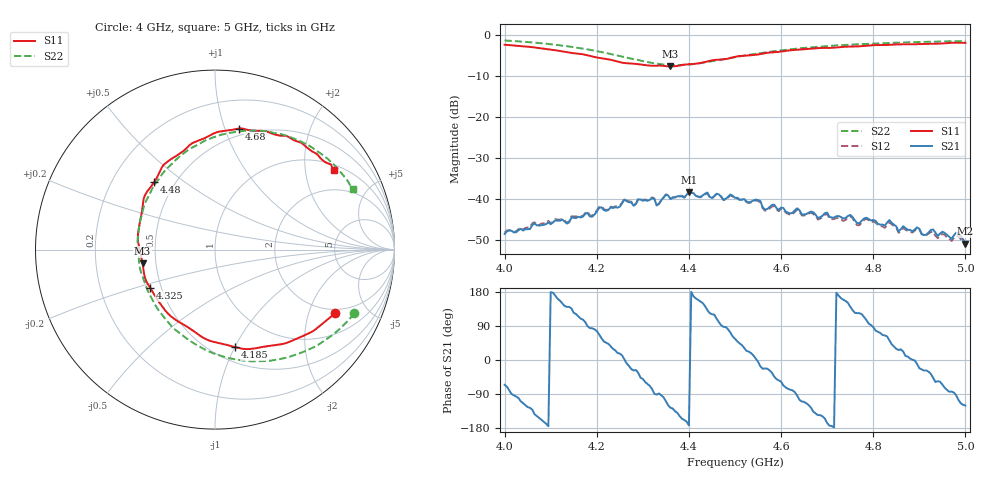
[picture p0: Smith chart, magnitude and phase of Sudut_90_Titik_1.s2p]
# Hz S RI R 50
! CMT, C1220, 16058040, 17.2.0/1
! Date: 15/08/2018 11:32:11
! Data: Format (Calibration Info)
! Freq  S11: Re/Im (F2)  S21: Re/Im (F2)  S12: Re/Im (F2)  S22: Re/Im (F2)
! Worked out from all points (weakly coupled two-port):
!   201 points, 4 GHz to 5 GHz, reference 50 ohm
!   highest |S21| = -38.34 dB at 4.4 GHz (marker M1); lowest = -50.8 dB at 5 GHz (marker M2)
!   lowest |S11| = -7.7 dB at 4.36 GHz (marker M3), VSWR 2.40, Z = 21 - j3.92 ohm
!   |S11| at or under -10 dB: nowhere
!   |S22| runs from -7.4 to -1.4 dB; largest |S21 - S12| = 0.00039
!   S11 on the Smith chart (normalised r, x): 4 GHz: 1.81, -2.99; 4.185 GHz: 0.64, -1.00; 4.325 GHz: 0.43, -0.22; 4.48 GHz: 0.38, +0.39; 4.68 GHz: 0.44, +1.12; 5 GHz: 1.17, +2.85
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4e9  0.6663 -0.3557  0.00157 -0.00344  0.00175 -0.00349  0.7747 -0.3552
4.17e9  0.1632 -0.554  -0.00175 0.00588  -0.00191 0.00599  0.2729 -0.6212
4.185e9  0.11 -0.5431  0.00062 0.00613  0.000627 0.00633  0.2085 -0.6224
4.26e9  -0.1744 -0.418  0.00991 0.000273  0.0101 0.000224  -0.1178 -0.5223
4.28e9  -0.249 -0.3692  0.00737 -0.00385  0.00748 -0.00407  -0.1979 -0.4641
4.325e9  -0.3608 -0.2127  0.000149 -0.0101  4.48e-05 -0.0102  -0.343 -0.2897
4.335e9  -0.3816 -0.1787  0.000234 -0.00875  0.000141 -0.00882  -0.3666 -0.2464
4.35e9  -0.3975 -0.1197  -0.00359 -0.0107  -0.00369 -0.0108  -0.3955 -0.1727
4.36e9  -0.4037 -0.0774  -0.00589 -0.00807  -0.00608 -0.00815  -0.4123 -0.1265
4.4e9  -0.429 0.0885  -0.012 -0.00157  -0.0121 -0.00127  -0.4286 0.0746
4.48e9  -0.3396 0.3758  0.000533 0.0101  0.00072 0.00988  -0.3012 0.4112
4.5e9  -0.3024 0.445  0.00579 0.00862  0.00579 0.00844  -0.2459 0.4722
4.55e9  -0.1786 0.5476  0.00971 -0.000802  0.00942 -0.00101  -0.0982 0.5836
4.565e9  -0.145 0.5786  0.00691 -0.00283  0.00663 -0.00291  -0.0542 0.608
4.67e9  0.1138 0.6703  -0.00501 -0.00478  -0.00483 -0.0045  0.248 0.6625
4.68e9  0.1325 0.6746  -0.00485 -0.00333  -0.00466 -0.00318  0.2727 0.6597
4.835e9  0.446 0.6071  0.00344 0.00438  0.00318 0.00414  0.5833 0.5389
4.855e9  0.4781 0.5961  0.00362 0.0018  0.00347 0.00177  0.6134 0.5166
4.895e9  0.5352 0.5513  0.00446 -0.000807  0.00437 -0.000637  0.6656 0.4705
4.97e9  0.6397 0.4769  0.000385 -0.00327  0.000356 -0.00308  0.743 0.3767
4.985e9  0.6488 0.4672  -0.00104 -0.00373  -0.000891 -0.00343  0.755 0.3553
5e9  0.6615 0.444  -0.00144 -0.00249  -0.00125 -0.00237  0.7686 0.3356
